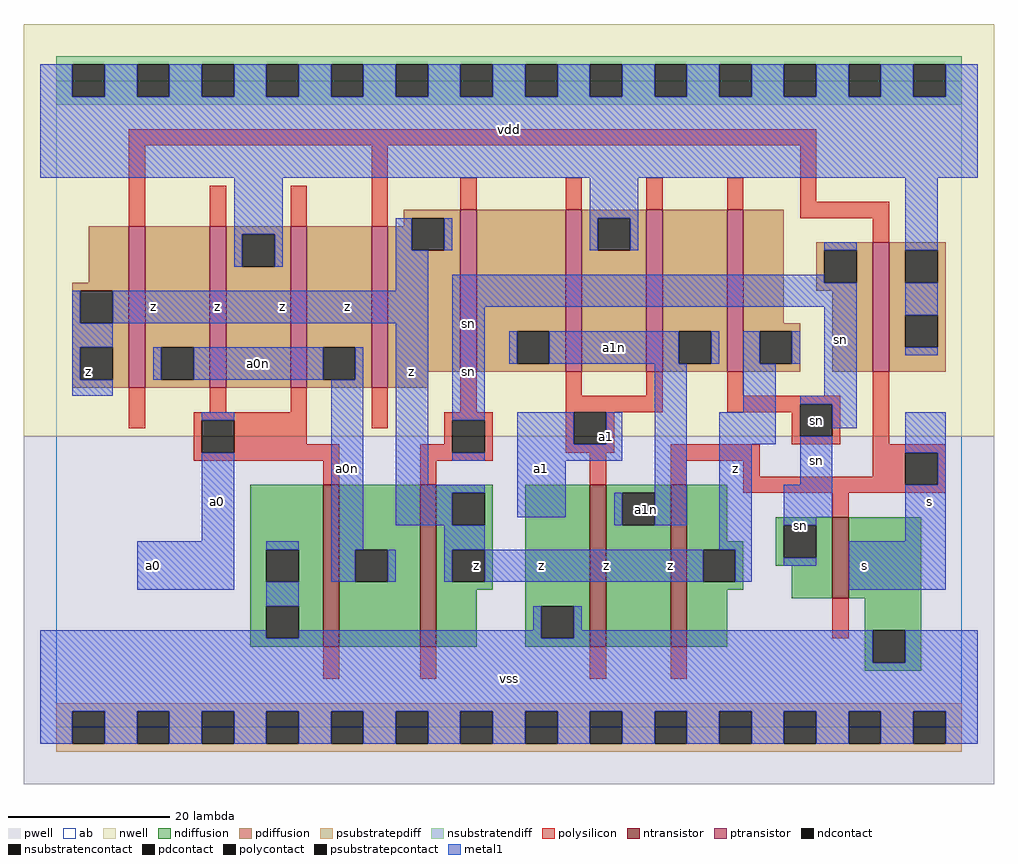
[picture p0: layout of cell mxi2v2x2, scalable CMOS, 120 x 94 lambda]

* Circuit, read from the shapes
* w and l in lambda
.subckt mxi2v2x2 a0 a0n a1 a1n s sn vdd vss z
M1 a0n a0 vss vss nfet w=20 l=2
M2 z sn a0n vss nfet w=20 l=2
M3 a1n a1 vss vss nfet w=20 l=2
M4 z s a1n vss nfet w=20 l=2
M5 vss s sn vss nfet w=10 l=2
M6 a0n s z vdd pfet w=20 l=2 m=2
M7 vdd a0 a0n vdd pfet w=20 l=2 m=2
M8 a1n sn z vdd pfet w=20 l=2 m=2
M9 vdd a1 a1n vdd pfet w=20 l=2 m=2
M10 vdd s sn vdd pfet w=16 l=2
.ends

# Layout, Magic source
magic
tech scmos
<< ab >>
rect 0 0 112 80
<< pwell >>
rect -4 -7 116 36
<< nwell >>
rect -4 36 116 87
<< polysilicon >>
rect 9 72 94 74
rect 9 62 11 72
rect 19 62 21 67
rect 29 62 31 67
rect 39 62 41 72
rect 50 64 52 68
rect 63 64 65 68
rect 73 64 75 68
rect 83 64 85 68
rect 92 65 94 72
rect 92 63 103 65
rect 101 60 103 63
rect 9 37 11 42
rect 19 39 21 42
rect 29 39 31 42
rect 17 38 31 39
rect 17 34 18 38
rect 22 35 31 38
rect 39 37 41 42
rect 50 39 52 44
rect 63 41 65 44
rect 73 41 75 44
rect 63 39 75 41
rect 83 41 85 44
rect 83 40 97 41
rect 83 39 92 40
rect 48 38 54 39
rect 48 35 49 38
rect 22 34 35 35
rect 17 33 35 34
rect 33 30 35 33
rect 45 34 49 35
rect 53 34 54 38
rect 63 35 64 39
rect 68 35 69 39
rect 91 36 92 39
rect 96 36 97 40
rect 91 35 97 36
rect 101 35 103 44
rect 63 34 69 35
rect 45 33 54 34
rect 45 30 47 33
rect 66 30 68 34
rect 76 33 87 35
rect 76 30 78 33
rect 85 31 87 33
rect 101 34 110 35
rect 101 31 105 34
rect 85 30 105 31
rect 109 30 110 34
rect 85 29 110 30
rect 96 26 98 29
rect 96 11 98 16
rect 33 6 35 10
rect 45 6 47 10
rect 66 6 68 10
rect 76 6 78 10
<< ndiffusion >>
rect 24 22 33 30
rect 24 18 26 22
rect 30 18 33 22
rect 24 15 33 18
rect 24 11 26 15
rect 30 11 33 15
rect 24 10 33 11
rect 35 22 45 30
rect 35 18 37 22
rect 41 18 45 22
rect 35 10 45 18
rect 47 29 54 30
rect 47 25 49 29
rect 53 25 54 29
rect 47 22 54 25
rect 47 18 49 22
rect 53 18 54 22
rect 47 17 54 18
rect 47 10 52 17
rect 58 15 66 30
rect 58 11 60 15
rect 64 11 66 15
rect 58 10 66 11
rect 68 29 76 30
rect 68 25 70 29
rect 74 25 76 29
rect 68 10 76 25
rect 78 23 83 30
rect 89 25 96 26
rect 78 22 85 23
rect 78 18 80 22
rect 84 18 85 22
rect 89 21 90 25
rect 94 21 96 25
rect 89 20 96 21
rect 78 17 85 18
rect 78 10 83 17
rect 91 16 96 20
rect 98 16 107 26
rect 100 12 107 16
rect 100 8 101 12
rect 105 8 107 12
rect 100 7 107 8
<< pdiffusion >>
rect 43 63 50 64
rect 43 62 44 63
rect 4 55 9 62
rect 2 54 9 55
rect 2 50 3 54
rect 7 50 9 54
rect 2 47 9 50
rect 2 43 3 47
rect 7 43 9 47
rect 2 42 9 43
rect 11 47 19 62
rect 11 43 13 47
rect 17 43 19 47
rect 11 42 19 43
rect 21 61 29 62
rect 21 57 23 61
rect 27 57 29 61
rect 21 42 29 57
rect 31 47 39 62
rect 31 43 33 47
rect 37 43 39 47
rect 31 42 39 43
rect 41 59 44 62
rect 48 59 50 63
rect 41 44 50 59
rect 52 49 63 64
rect 52 45 57 49
rect 61 45 63 49
rect 52 44 63 45
rect 65 63 73 64
rect 65 59 67 63
rect 71 59 73 63
rect 65 44 73 59
rect 75 49 83 64
rect 75 45 77 49
rect 81 45 83 49
rect 75 44 83 45
rect 85 50 90 64
rect 94 59 101 60
rect 94 55 95 59
rect 99 55 101 59
rect 94 54 101 55
rect 85 49 92 50
rect 85 45 87 49
rect 91 45 92 49
rect 85 44 92 45
rect 96 44 101 54
rect 103 59 110 60
rect 103 55 105 59
rect 109 55 110 59
rect 103 51 110 55
rect 103 47 105 51
rect 109 47 110 51
rect 103 44 110 47
rect 41 42 46 44
<< metal1 >>
rect -2 78 2 82
rect 6 78 10 82
rect 14 78 18 82
rect 22 78 26 82
rect 30 78 34 82
rect 38 78 42 82
rect 46 78 50 82
rect 54 78 58 82
rect 62 78 66 82
rect 70 78 74 82
rect 78 78 82 82
rect 86 78 90 82
rect 94 78 98 82
rect 102 78 106 82
rect 110 78 114 82
rect -2 68 114 78
rect 22 61 28 68
rect 66 63 72 68
rect 22 57 23 61
rect 27 57 28 61
rect 42 59 44 63
rect 48 59 49 63
rect 66 59 67 63
rect 71 59 72 63
rect 95 59 99 60
rect 42 54 46 59
rect 2 50 3 54
rect 7 50 46 54
rect 2 47 7 50
rect 2 43 3 47
rect 12 43 13 47
rect 17 43 33 47
rect 37 43 38 47
rect 2 41 7 43
rect 18 38 22 39
rect 18 23 22 34
rect 10 17 22 23
rect 26 22 30 23
rect 34 22 38 43
rect 42 30 46 50
rect 49 55 95 56
rect 49 52 99 55
rect 49 38 53 52
rect 56 45 57 49
rect 61 45 77 49
rect 81 45 82 49
rect 85 45 87 49
rect 91 45 92 49
rect 49 33 53 34
rect 57 35 64 39
rect 68 35 70 39
rect 57 33 70 35
rect 42 29 53 30
rect 42 25 49 29
rect 57 26 63 33
rect 69 25 70 29
rect 74 25 78 45
rect 85 39 89 45
rect 95 41 99 52
rect 105 59 109 68
rect 105 51 109 55
rect 105 46 109 47
rect 82 35 89 39
rect 92 40 99 41
rect 96 37 99 40
rect 48 22 53 25
rect 82 22 86 35
rect 92 30 96 36
rect 34 18 37 22
rect 41 18 42 22
rect 48 18 49 22
rect 53 18 80 22
rect 84 18 86 22
rect 90 26 96 30
rect 105 34 110 39
rect 109 30 110 34
rect 90 25 94 26
rect 105 23 110 30
rect 90 20 94 21
rect 26 15 30 18
rect 98 17 110 23
rect -2 11 26 12
rect 59 12 60 15
rect 30 11 60 12
rect 64 12 65 15
rect 64 11 101 12
rect -2 8 101 11
rect 105 8 114 12
rect -2 2 114 8
rect -2 -2 2 2
rect 6 -2 10 2
rect 14 -2 18 2
rect 22 -2 26 2
rect 30 -2 34 2
rect 38 -2 42 2
rect 46 -2 50 2
rect 54 -2 58 2
rect 62 -2 66 2
rect 70 -2 74 2
rect 78 -2 82 2
rect 86 -2 90 2
rect 94 -2 98 2
rect 102 -2 106 2
rect 110 -2 114 2
<< ntransistor >>
rect 33 10 35 30
rect 45 10 47 30
rect 66 10 68 30
rect 76 10 78 30
rect 96 16 98 26
<< ptransistor >>
rect 9 42 11 62
rect 19 42 21 62
rect 29 42 31 62
rect 39 42 41 62
rect 50 44 52 64
rect 63 44 65 64
rect 73 44 75 64
rect 83 44 85 64
rect 101 44 103 60
<< polycontact >>
rect 18 34 22 38
rect 49 34 53 38
rect 64 35 68 39
rect 92 36 96 40
rect 105 30 109 34
<< ndcontact >>
rect 26 18 30 22
rect 26 11 30 15
rect 37 18 41 22
rect 49 25 53 29
rect 49 18 53 22
rect 60 11 64 15
rect 70 25 74 29
rect 80 18 84 22
rect 90 21 94 25
rect 101 8 105 12
<< pdcontact >>
rect 3 50 7 54
rect 3 43 7 47
rect 13 43 17 47
rect 23 57 27 61
rect 33 43 37 47
rect 44 59 48 63
rect 57 45 61 49
rect 67 59 71 63
rect 77 45 81 49
rect 95 55 99 59
rect 87 45 91 49
rect 105 55 109 59
rect 105 47 109 51
<< psubstratepcontact >>
rect 2 -2 6 2
rect 10 -2 14 2
rect 18 -2 22 2
rect 26 -2 30 2
rect 34 -2 38 2
rect 42 -2 46 2
rect 50 -2 54 2
rect 58 -2 62 2
rect 66 -2 70 2
rect 74 -2 78 2
rect 82 -2 86 2
rect 90 -2 94 2
rect 98 -2 102 2
rect 106 -2 110 2
<< nsubstratencontact >>
rect 2 78 6 82
rect 10 78 14 82
rect 18 78 22 82
rect 26 78 30 82
rect 34 78 38 82
rect 42 78 46 82
rect 50 78 54 82
rect 58 78 62 82
rect 66 78 70 82
rect 74 78 78 82
rect 82 78 86 82
rect 90 78 94 82
rect 98 78 102 82
rect 106 78 110 82
<< psubstratepdiff >>
rect 0 2 112 3
rect 0 -2 2 2
rect 6 -2 10 2
rect 14 -2 18 2
rect 22 -2 26 2
rect 30 -2 34 2
rect 38 -2 42 2
rect 46 -2 50 2
rect 54 -2 58 2
rect 62 -2 66 2
rect 70 -2 74 2
rect 78 -2 82 2
rect 86 -2 90 2
rect 94 -2 98 2
rect 102 -2 106 2
rect 110 -2 112 2
rect 0 -3 112 -2
<< nsubstratendiff >>
rect 0 82 112 83
rect 0 78 2 82
rect 6 78 10 82
rect 14 78 18 82
rect 22 78 26 82
rect 30 78 34 82
rect 38 78 42 82
rect 46 78 50 82
rect 54 78 58 82
rect 62 78 66 82
rect 70 78 74 82
rect 78 78 82 82
rect 86 78 90 82
rect 94 78 98 82
rect 102 78 106 82
rect 110 78 112 82
rect 0 77 112 78
<< labels >>
rlabel ptransistor 51 50 51 50 6 sn
rlabel polycontact 94 38 94 38 6 sn
rlabel metal1 12 20 12 20 6 a0
rlabel pdcontact 4 44 4 44 6 z
rlabel metal1 12 52 12 52 6 z
rlabel metal1 20 28 20 28 6 a0
rlabel metal1 36 32 36 32 6 a0n
rlabel metal1 25 45 25 45 6 a0n
rlabel metal1 28 52 28 52 6 z
rlabel metal1 36 52 36 52 6 z
rlabel metal1 20 52 20 52 6 z
rlabel metal1 56 6 56 6 6 vss
rlabel metal1 60 20 60 20 6 z
rlabel ndcontact 52 20 52 20 6 z
rlabel metal1 60 32 60 32 6 a1
rlabel metal1 44 44 44 44 6 z
rlabel metal1 51 44 51 44 6 sn
rlabel metal1 56 74 56 74 6 vdd
rlabel metal1 68 20 68 20 6 z
rlabel ndcontact 73 27 73 27 6 a1n
rlabel metal1 76 20 76 20 6 z
rlabel metal1 84 32 84 32 6 z
rlabel metal1 68 36 68 36 6 a1
rlabel metal1 69 47 69 47 6 a1n
rlabel metal1 92 25 92 25 6 sn
rlabel metal1 108 28 108 28 6 s
rlabel metal1 100 20 100 20 6 s
rlabel metal1 94 33 94 33 6 sn
rlabel metal1 97 48 97 48 6 sn
<< end >>
